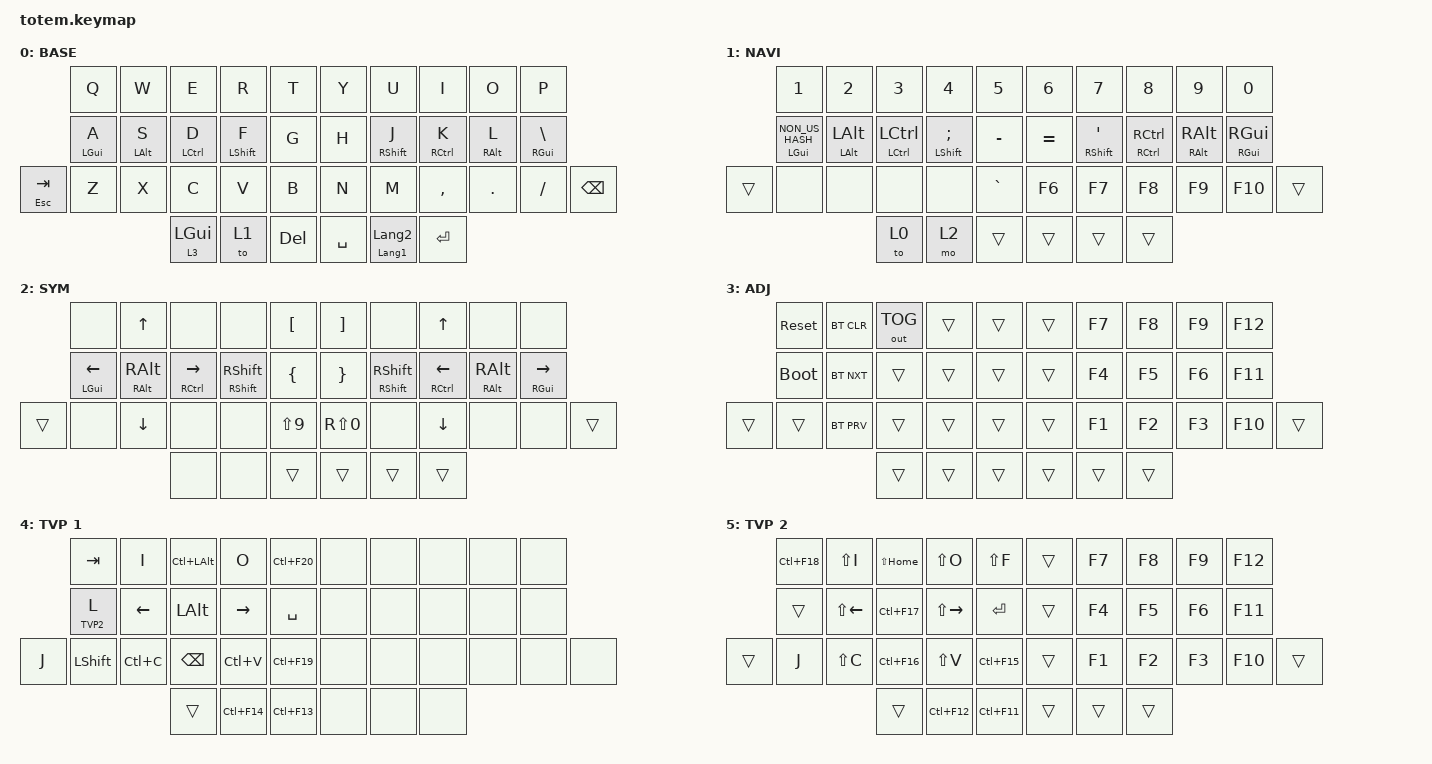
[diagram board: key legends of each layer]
//
//                                                        ▀▀▀▀▀     ▀▀▀▀▀          ▀▀█▀▀
//                                                        ▄▀▀▀▄  ▄  ▄▀▀▀▄  ▄  ▄▀▀▀▄  █  ▄▀▀▀▄
//                                                        █   █  █  █   █  █  █   █  █  █   █
//                                                         ▀▀▀   █   ▀▀▀   █   ▀▀▀   ▀   ▀▀▀
//                                                               █      ▄▄▄█▄▄▄    █   █  
//                                                               ▀      █  █  █     █▄█
//                                                             ▀▀▀▀▀    █  █  █      ▀
//                                                                      ▀  ▀  ▀x
//
// ▄▄▄▄▄▄▄▄▄▄▄▄▄▄▄▄▄▄▄▄▄▄▄▄▄▄▄▄▄▄▄▄▄▄▄▄▄▄▄▄▄▄▄▄▄▄▄▄▄▄▄▄▄▄▄▄▄▄▄▄▄▄▄▄▄▄▄▄▄▄▄▄▄▄▄▄▄▄▄▄▄▄▄▄▄▄▄▄▄▄▄▄▄▄▄▄▄▄▄▄▄▄▄▄▄▄▄▄▄▄▄▄▄▄▄▄▄▄▄▄▄▄▄▄▄▄▄▄▄▄▄▄▄▄▄▄▄▄▄▄▄▄▄▄▄▄▄▄▄

#include <behaviors.dtsi>
#include <dt-bindings/zmk/bt.h>
#include <dt-bindings/zmk/keys.h>
#include <dt-bindings/zmk/outputs.h>

#define BASE 0
#define NAV  1
#define SYM  2
#define ADJ  3
#define TVP1 4
#define TVP2 5

&mt {
    quick-tap-ms = <100>;
    global-quick-tap;
    flavor = "tap-preferred";
    tapping-term-ms = <170>;
};

/ {
    combos {
        compatible = "zmk,combos";

        combo_esc {
            timeout-ms = <50>;
            key-positions = <0 1>;
            bindings = <&kp ESC>;
        };

        combo_tvp {
            timeout-ms = <100>;
            key-positions = <11 12 13>;
            bindings = <&tog TVP1>;
        };
    };

    macros {
        gif: gif {
            label = "giphy";
            compatible = "zmk,behavior-macro";
            #binding-cells = <0>;
            bindings =
                <&macro_press>,
                <&kp LSHFT>,
                <&macro_tap>,
                <&kp N2>,
                <&macro_release>,
                <&kp LSHFT>,
                <&macro_tap>,
                <&kp G &kp I &kp F>;
        };
    };

    keymap {
        compatible = "zmk,keymap";

        // ▄▄▄▄▄▄▄▄▄▄▄▄▄▄▄▄▄▄▄▄▄▄▄▄▄▄▄▄▄▄▄▄▄▄▄▄▄▄▄▄▄▄▄▄▄▄▄▄▄▄▄▄▄▄▄▄▄▄▄▄▄▄▄▄▄▄▄▄▄▄▄▄▄▄▄▄▄▄▄▄▄▄▄▄▄▄▄▄▄▄▄▄▄▄▄▄▄▄▄▄▄▄▄▄▄▄▄▄▄▄▄▄▄▄▄▄▄▄▄▄▄▄▄▄▄▄▄▄▄▄▄▄▄▄▄▄▄▄▄▄▄▄▄▄▄▄▄▄▄

        base_layer {
            // ┏━━━━━━━━━━━━━━━━━━━━━━━━━━━━━━━━━━━━━━━┓

            label = "BASE";

            // ┗━━━━━━━━━━━━━━━━━━━━━━━━━━━━━━━━━━━━━━━┛
            //             ┏━━━━━━━━━━━┳━━━━━━━━━━━┳━━━━━━━━━━━┳━━━━━━━━━━━┳━━━━━━━━━━━┓   ┏━━━━━━━━━━━┳━━━━━━━━━━━┳━━━━━━━━━━━┳━━━━━━━━━━━┳━━━━━━━━━━━┓
            //             ┃     Q     ┃     W     ┃     F     ┃     P     ┃     G     ┃   ┃     J     ┃     L     ┃     U     ┃     Y     ┃     ;     ┃
            //             ┣━━━━━━━━━━━╋━━━━━━━━━━━╋━━━━━━━━━━━╋━━━━━━━━━━━╋━━━━━━━━━━━┫   ┣━━━━━━━━━━━╋━━━━━━━━━━━╋━━━━━━━━━━━╋━━━━━━━━━━━╋━━━━━━━━━━━┫
            //             ┃     A     ┃     R     ┃     S     ┃     T     ┃     D     ┃   ┃     H     ┃     N     ┃     E     ┃     I     ┃     O     ┃
            // ┏━━━━━━━━━━━╋━━━━━━━━━━━╋━━━━━━━━━━━╋━━━━━━━━━━━╋━━━━━━━━━━━╋━━━━━━━━━━━┫   ┣━━━━━━━━━━━╋━━━━━━━━━━━╋━━━━━━━━━━━╋━━━━━━━━━━━╋━━━━━━━━━━━╋━━━━━━━━━━━┓
            // ┃     Q     ┃     Z     ┃     X     ┃     C     ┃     V     ┃     B     ┃   ┃     K     ┃     M     ┃     ,     ┃     .     ┃     /     ┃     \     ┃
            // ┗━━━━━━━━━━━┻━━━━━━━━━━━┻━━━━━━━━━━━╋━━━━━━━━━━━╋━━━━━━━━━━━╋━━━━━━━━━━━┫   ┣━━━━━━━━━━━╋━━━━━━━━━━━╋━━━━━━━━━━━╋━━━━━━━━━━━┻━━━━━━━━━━━┻━━━━━━━━━━━┛
            //                                     ┃    DEL    ┃    TAB    ┃    SPC    ┃   ┃   ENTER   ┃           ┃   BSPC    ┃
            //                                     ┗━━━━━━━━━━━┻━━━━━━━━━━━┻━━━━━━━━━━━┛   ┗━━━━━━━━━━━┻━━━━━━━━━━━┻━━━━━━━━━━━┛

            bindings = <
                &kp Q           &kp W       &kp E           &kp R        &kp T         &kp Y      &kp U                      &kp I        &kp O       &kp P
                &mt LEFT_GUI A  &mt LALT S  &mt LCTRL D     &mt LSHFT F  &kp G         &kp H      &mt RSHFT J                &mt RCTRL K  &mt RALT L  &mt RGUI BACKSLASH
&mt ESCAPE TAB  &kp Z           &kp X       &kp C           &kp V        &kp B         &kp N      &kp M                      &kp COMMA    &kp DOT     &kp FSLH            &kp BACKSPACE
                                            &lt 3 LEFT_GUI  &to 1        &kp DELETE    &kp SPACE  &mt LANGUAGE_1 LANGUAGE_2  &kp ENTER
            >;
        };

        // ▄▄▄▄▄▄▄▄▄▄▄▄▄▄▄▄▄▄▄▄▄▄▄▄▄▄▄▄▄▄▄▄▄▄▄▄▄▄▄▄▄▄▄▄▄▄▄▄▄▄▄▄▄▄▄▄▄▄▄▄▄▄▄▄▄▄▄▄▄▄▄▄▄▄▄▄▄▄▄▄▄▄▄▄▄▄▄▄▄▄▄▄▄▄▄▄▄▄▄▄▄▄▄▄▄▄▄▄▄▄▄▄▄▄▄▄▄▄▄▄▄▄▄▄▄▄▄▄▄▄▄▄▄▄▄▄▄▄▄▄▄▄▄▄▄▄▄▄▄

        nav_layer {
            // ┏━━━━━━━━━━━━━━━━━━━━━━━━━━━━━━━━━━━━━━━┓

            label = "NAVI";

            // ┗━━━━━━━━━━━━━━━━━━━━━━━━━━━━━━━━━━━━━━━┛
            //             ┏━━━━━━━━━━━┳━━━━━━━━━━━┳━━━━━━━━━━━┳━━━━━━━━━━━┳━━━━━━━━━━━┓   ┏━━━━━━━━━━━┳━━━━━━━━━━━┳━━━━━━━━━━━┳━━━━━━━━━━━┳━━━━━━━━━━━┓
            //             ┃           ┃           ┃     UP    ┃           ┃     {     ┃   ┃     }     ┃     7     ┃     8     ┃     9     ┃     +     ┃
            //             ┣━━━━━━━━━━━╋━━━━━━━━━━━╋━━━━━━━━━━━╋━━━━━━━━━━━╋━━━━━━━━━━━┫   ┣━━━━━━━━━━━╋━━━━━━━━━━━╋━━━━━━━━━━━╋━━━━━━━━━━━╋━━━━━━━━━━━┫
            //             ┃   SHIFT   ┃   LEFT    ┃    DOWN   ┃   RIGHT   ┃     [     ┃   ┃     ]     ┃     4     ┃     5     ┃     6     ┃     -     ┃
            // ┏━━━━━━━━━━━╋━━━━━━━━━━━╋━━━━━━━━━━━╋━━━━━━━━━━━╋━━━━━━━━━━━╋━━━━━━━━━━━┫   ┣━━━━━━━━━━━╋━━━━━━━━━━━╋━━━━━━━━━━━╋━━━━━━━━━━━╋━━━━━━━━━━━╋━━━━━━━━━━━┓
            // ┃           ┃           ┃   P UP    ┃  C LOCK   ┃  P DOWN   ┃     (     ┃   ┃     )     ┃     1     ┃     2     ┃     3     ┃     *     ┃           ┃
            // ┗━━━━━━━━━━━┻━━━━━━━━━━━┻━━━━━━━━━━━╋━━━━━━━━━━━╋━━━━━━━━━━━╋━━━━━━━━━━━┫   ┣━━━━━━━━━━━╋━━━━━━━━━━━╋━━━━━━━━━━━╋━━━━━━━━━━━┻━━━━━━━━━━━┻━━━━━━━━━━━┛
            //                                     ┃           ┃    TAB    ┃    SPC    ┃   ┃    DEL    ┃     0     ┃           ┃
            //                                     ┗━━━━━━━━━━━┻━━━━━━━━━━━┻━━━━━━━━━━━┛   ┗━━━━━━━━━━━┻━━━━━━━━━━━┻━━━━━━━━━━━┛

            bindings = <
        &kp N1                    &kp NUMBER_2           &kp NUMBER_3                   &kp NUMBER_4         &kp N5       &kp NUMBER_6  &kp N7                &kp N8                           &kp N9                   &kp N0
        &mt LEFT_GUI NON_US_HASH  &mt LEFT_ALT LEFT_ALT  &mt LEFT_CONTROL LEFT_CONTROL  &mt LEFT_SHIFT SEMI  &kp MINUS    &kp EQUAL     &mt RIGHT_SHIFT APOS  &mt RIGHT_CONTROL RIGHT_CONTROL  &mt RIGHT_ALT RIGHT_ALT  &mt RIGHT_GUI RIGHT_GUI
&trans  &none                     &none                  &none                          &none                &kp GRAVE    &kp F6        &kp F7                &kp F8                           &kp F9                   &kp F10                  &trans
                                                         &to 0                          &mo 2                &trans       &trans        &trans                &trans
            >;
        };

        // ▄▄▄▄▄▄▄▄▄▄▄▄▄▄▄▄▄▄▄▄▄▄▄▄▄▄▄▄▄▄▄▄▄▄▄▄▄▄▄▄▄▄▄▄▄▄▄▄▄▄▄▄▄▄▄▄▄▄▄▄▄▄▄▄▄▄▄▄▄▄▄▄▄▄▄▄▄▄▄▄▄▄▄▄▄▄▄▄▄▄▄▄▄▄▄▄▄▄▄▄▄▄▄▄▄▄▄▄▄▄▄▄▄▄▄▄▄▄▄▄▄▄▄▄▄▄▄▄▄▄▄▄▄▄▄▄▄▄▄▄▄▄▄▄▄▄▄▄▄

        sim_layer {
            // ┏━━━━━━━━━━━━━━━━━━━━━━━━━━━━━━━━━━━━━━━┓

            label = "SYM";

            // ┗━━━━━━━━━━━━━━━━━━━━━━━━━━━━━━━━━━━━━━━┛
            //             ┏━━━━━━━━━━━┳━━━━━━━━━━━┳━━━━━━━━━━━┳━━━━━━━━━━━┳━━━━━━━━━━━┓   ┏━━━━━━━━━━━┳━━━━━━━━━━━┳━━━━━━━━━━━┳━━━━━━━━━━━┳━━━━━━━━━━━┓
            //             ┃     !     ┃     @     ┃     #     ┃     $     ┃     %     ┃   ┃     ˆ     ┃     &     ┃     Ü     ┃     '     ┃     "     ┃
            //             ┣━━━━━━━━━━━╋━━━━━━━━━━━╋━━━━━━━━━━━╋━━━━━━━━━━━╋━━━━━━━━━━━┫   ┣━━━━━━━━━━━╋━━━━━━━━━━━╋━━━━━━━━━━━╋━━━━━━━━━━━╋━━━━━━━━━━━┫
            //             ┃     Ä     ┃           ┃    SZ     ┃           ┃           ┃   ┃   MUTE    ┃   YEN     ┃   EURO    ┃  POUND    ┃     Ö     ┃
            // ┏━━━━━━━━━━━╋━━━━━━━━━━━╋━━━━━━━━━━━╋━━━━━━━━━━━╋━━━━━━━━━━━╋━━━━━━━━━━━┫   ┣━━━━━━━━━━━╋━━━━━━━━━━━╋━━━━━━━━━━━╋━━━━━━━━━━━╋━━━━━━━━━━━╋━━━━━━━━━━━┓
            // ┃           ┃  EMAIL1   ┃  EMAIL2   ┃           ┃           ┃           ┃   ┃   VOL-    ┃   VOL+    ┃   LAST    ┃   NEXT    ┃     \     ┃           ┃
            // ┗━━━━━━━━━━━┻━━━━━━━━━━━┻━━━━━━━━━━━╋━━━━━━━━━━━╋━━━━━━━━━━━╋━━━━━━━━━━━┫   ┣━━━━━━━━━━━╋━━━━━━━━━━━╋━━━━━━━━━━━╋━━━━━━━━━━━┻━━━━━━━━━━━┻━━━━━━━━━━━┛
            //                                     ┃           ┃    GIF    ┃    ADJ    ┃   ┃           ┃           ┃           ┃
            //                                     ┗━━━━━━━━━━━┻━━━━━━━━━━━┻━━━━━━━━━━━┛   ┗━━━━━━━━━━━┻━━━━━━━━━━━┻━━━━━━━━━━━┛

            bindings = <
        &none                    &kp UP_ARROW             &none                          &none                        &kp LEFT_BRACKET    &kp RIGHT_BRACKET  &none                        &kp UP_ARROW                  &none                    &none
        &mt LEFT_GUI LEFT_ARROW  &mt RIGHT_ALT RIGHT_ALT  &mt RIGHT_CONTROL RIGHT_ARROW  &mt RIGHT_SHIFT RIGHT_SHIFT  &kp LEFT_BRACE      &kp RIGHT_BRACE    &mt RIGHT_SHIFT RIGHT_SHIFT  &mt RIGHT_CONTROL LEFT_ARROW  &mt RIGHT_ALT RIGHT_ALT  &mt RIGHT_GUI RIGHT_ARROW
&trans  &none                    &kp DOWN_ARROW           &none                          &none                        &kp LS(N9)          &kp RS(N0)         &none                        &kp DOWN_ARROW                &none                    &none                      &trans
                                                          &none                          &none                        &trans              &trans             &trans                       &trans
            >;
        };

        // ▄▄▄▄▄▄▄▄▄▄▄▄▄▄▄▄▄▄▄▄▄▄▄▄▄▄▄▄▄▄▄▄▄▄▄▄▄▄▄▄▄▄▄▄▄▄▄▄▄▄▄▄▄▄▄▄▄▄▄▄▄▄▄▄▄▄▄▄▄▄▄▄▄▄▄▄▄▄▄▄▄▄▄▄▄▄▄▄▄▄▄▄▄▄▄▄▄▄▄▄▄▄▄▄▄▄▄▄▄▄▄▄▄▄▄▄▄▄▄▄▄▄▄▄▄▄▄▄▄▄▄▄▄▄▄▄▄▄▄▄▄▄▄▄▄▄▄▄▄

        adjust_layer {
            // ┏━━━━━━━━━━━━━━━━━━━━━━━━━━━━━━━━━━━━━━━┓

            label = "ADJ";

            // ┗━━━━━━━━━━━━━━━━━━━━━━━━━━━━━━━━━━━━━━━┛
            //             ┏━━━━━━━━━━━┳━━━━━━━━━━━┳━━━━━━━━━━━┳━━━━━━━━━━━┳━━━━━━━━━━━┓   ┏━━━━━━━━━━━┳━━━━━━━━━━━┳━━━━━━━━━━━┳━━━━━━━━━━━┳━━━━━━━━━━━┓
            //             ┃   RESET   ┃ BT CLEAR  ┃  OUT TOG  ┃           ┃           ┃   ┃           ┃    F7     ┃    F8     ┃    F9     ┃    F12    ┃
            //             ┣━━━━━━━━━━━╋━━━━━━━━━━━╋━━━━━━━━━━━╋━━━━━━━━━━━╋━━━━━━━━━━━┫   ┣━━━━━━━━━━━╋━━━━━━━━━━━╋━━━━━━━━━━━╋━━━━━━━━━━━╋━━━━━━━━━━━┫
            //             ┃ BOOTLOAD  ┃ BT NEXT   ┃           ┃           ┃           ┃   ┃           ┃    F4     ┃    F5     ┃    F6     ┃    F11    ┃
            // ┏━━━━━━━━━━━╋━━━━━━━━━━━╋━━━━━━━━━━━╋━━━━━━━━━━━╋━━━━━━━━━━━╋━━━━━━━━━━━┫   ┣━━━━━━━━━━━╋━━━━━━━━━━━╋━━━━━━━━━━━╋━━━━━━━━━━━╋━━━━━━━━━━━╋━━━━━━━━━━━┓
            // ┃           ┃           ┃ BT PREV   ┃           ┃           ┃           ┃   ┃           ┃    F1     ┃    F2     ┃    F3     ┃    F10    ┃           ┃
            // ┗━━━━━━━━━━━┻━━━━━━━━━━━┻━━━━━━━━━━━╋━━━━━━━━━━━╋━━━━━━━━━━━╋━━━━━━━━━━━┫   ┣━━━━━━━━━━━╋━━━━━━━━━━━╋━━━━━━━━━━━╋━━━━━━━━━━━┻━━━━━━━━━━━┻━━━━━━━━━━━┛
            //                                     ┃           ┃           ┃           ┃   ┃           ┃           ┃           ┃
            //                                     ┗━━━━━━━━━━━┻━━━━━━━━━━━┻━━━━━━━━━━━┛   ┗━━━━━━━━━━━┻━━━━━━━━━━━┻━━━━━━━━━━━┛

            bindings = <
        &sys_reset   &bt BT_CLR  &out OUT_TOG  &trans  &trans    &trans  &kp F7  &kp F8  &kp F9  &kp F12
        &bootloader  &bt BT_NXT  &trans        &trans  &trans    &trans  &kp F4  &kp F5  &kp F6  &kp F11
&trans  &trans       &bt BT_PRV  &trans        &trans  &trans    &trans  &kp F1  &kp F2  &kp F3  &kp F10  &trans
                                 &trans        &trans  &trans    &trans  &trans  &trans
            >;
        };

        // ▄▄▄▄▄▄▄▄▄▄▄▄▄▄▄▄▄▄▄▄▄▄▄▄▄▄▄▄▄▄▄▄▄▄▄▄▄▄▄▄▄▄▄▄▄▄▄▄▄▄▄▄▄▄▄▄▄▄▄▄▄▄▄▄▄▄▄▄▄▄▄▄▄▄▄▄▄▄▄▄▄▄▄▄▄▄▄▄▄▄▄▄▄▄▄▄▄▄▄▄▄▄▄▄▄▄▄▄▄▄▄▄▄▄▄▄▄▄▄▄▄▄▄▄▄▄▄▄▄▄▄▄▄▄▄▄▄▄▄▄▄▄▄▄▄▄▄▄▄

        tvp1_layer {
            // ┏━━━━━━━━━━━━━━━━━━━━━━━━━━━━━━━━━━━━━━━┓

            label = "TVP 1";

            // ┗━━━━━━━━━━━━━━━━━━━━━━━━━━━━━━━━━━━━━━━┛
            //             ┏━━━━━━━━━━━┳━━━━━━━━━━━┳━━━━━━━━━━━┳━━━━━━━━━━━┳━━━━━━━━━━━┓   ┏━━━━━━━━━━━┳━━━━━━━━━━━┳━━━━━━━━━━━┳━━━━━━━━━━━┳━━━━━━━━━━━┓
            //             ┃ NEXT FILE ┃ MARK IN   ┃ ROTATE    ┃ MARK OUT  ┃ SHOW SNAP ┃   ┃           ┃           ┃           ┃           ┃           ┃
            //             ┣━━━━━━━━━━━╋━━━━━━━━━━━╋━━━━━━━━━━━╋━━━━━━━━━━━╋━━━━━━━━━━━┫   ┣━━━━━━━━━━━╋━━━━━━━━━━━╋━━━━━━━━━━━╋━━━━━━━━━━━╋━━━━━━━━━━━┫
            //             ┃ TVP II    ┃ LEFT      ┃ PAN       ┃ RIGHT     ┃ PLAY/FLIP ┃   ┃           ┃           ┃           ┃           ┃           ┃
            // ┏━━━━━━━━━━━╋━━━━━━━━━━━╋━━━━━━━━━━━╋━━━━━━━━━━━╋━━━━━━━━━━━╋━━━━━━━━━━━┫   ┣━━━━━━━━━━━╋━━━━━━━━━━━╋━━━━━━━━━━━╋━━━━━━━━━━━╋━━━━━━━━━━━╋━━━━━━━━━━━┓
            // ┃ FULLSCR   ┃ SHIFT     ┃ COPY      ┃ DELETE    ┃ PASTE     ┃ IMG MARK  ┃   ┃           ┃           ┃           ┃           ┃           ┃           ┃
            // ┗━━━━━━━━━━━┻━━━━━━━━━━━┻━━━━━━━━━━━╋━━━━━━━━━━━╋━━━━━━━━━━━╋━━━━━━━━━━━┫   ┣━━━━━━━━━━━╋━━━━━━━━━━━╋━━━━━━━━━━━╋━━━━━━━━━━━┻━━━━━━━━━━━┻━━━━━━━━━━━┛
            //                                     ┃           ┃ UNDO/SAVE ┃  SEL/MOV  ┃   ┃           ┃           ┃           ┃
            //                                     ┗━━━━━━━━━━━┻━━━━━━━━━━━┻━━━━━━━━━━━┛   ┗━━━━━━━━━━━┻━━━━━━━━━━━┻━━━━━━━━━━━┛

            bindings = <
       &kp TAB     &kp I      &kp LC(LALT)  &kp O        &kp LC(F20)    &none  &none  &none  &none  &none
       &lt TVP2 L  &kp LEFT   &kp LALT      &kp RIGHT    &kp SPACE      &none  &none  &none  &none  &none
&kp J  &kp LSHFT   &kp LC(C)  &kp BSPC      &kp LC(V)    &kp LC(F19)    &none  &none  &none  &none  &none  &none
                              &trans        &kp LC(F14)  &kp LC(F13)    &none  &none  &none
            >;
        };

        // ▄▄▄▄▄▄▄▄▄▄▄▄▄▄▄▄▄▄▄▄▄▄▄▄▄▄▄▄▄▄▄▄▄▄▄▄▄▄▄▄▄▄▄▄▄▄▄▄▄▄▄▄▄▄▄▄▄▄▄▄▄▄▄▄▄▄▄▄▄▄▄▄▄▄▄▄▄▄▄▄▄▄▄▄▄▄▄▄▄▄▄▄▄▄▄▄▄▄▄▄▄▄▄▄▄▄▄▄▄▄▄▄▄▄▄▄▄▄▄▄▄▄▄▄▄▄▄▄▄▄▄▄▄▄▄▄▄▄▄▄▄▄▄▄▄▄▄▄▄

        tvp2_layer {
            // ┏━━━━━━━━━━━━━━━━━━━━━━━━━━━━━━━━━━━━━━━┓

            label = "TVP 2";

            // ┗━━━━━━━━━━━━━━━━━━━━━━━━━━━━━━━━━━━━━━━┛
            //             ┏━━━━━━━━━━━┳━━━━━━━━━━━┳━━━━━━━━━━━┳━━━━━━━━━━━┳━━━━━━━━━━━┓   ┏━━━━━━━━━━━┳━━━━━━━━━━━┳━━━━━━━━━━━┳━━━━━━━━━━━┳━━━━━━━━━━━┓
            //             ┃ SOLO      ┃ TOGGLE IN ┃ RESET ROT ┃ TOGGLE OUT┃ TAKE SNAP ┃   ┃           ┃           ┃           ┃           ┃           ┃
            //             ┣━━━━━━━━━━━╋━━━━━━━━━━━╋━━━━━━━━━━━╋━━━━━━━━━━━╋━━━━━━━━━━━┫   ┣━━━━━━━━━━━╋━━━━━━━━━━━╋━━━━━━━━━━━╋━━━━━━━━━━━╋━━━━━━━━━━━┫
            //             ┃ ---       ┃ LAST KEY  ┃ NEW KEY   ┃ NEXT KEY  ┃ ENTER     ┃   ┃           ┃           ┃           ┃           ┃           ┃
            // ┏━━━━━━━━━━━╋━━━━━━━━━━━╋━━━━━━━━━━━╋━━━━━━━━━━━╋━━━━━━━━━━━╋━━━━━━━━━━━┫   ┣━━━━━━━━━━━╋━━━━━━━━━━━╋━━━━━━━━━━━╋━━━━━━━━━━━╋━━━━━━━━━━━╋━━━━━━━━━━━┓
            // ┃           ┃ FULLSCR   ┃ CPY2BRUSH ┃ DEL HEAD  ┃ PSTinPLACE┃ BOOK MARK ┃   ┃           ┃           ┃           ┃           ┃           ┃           ┃
            // ┗━━━━━━━━━━━┻━━━━━━━━━━━┻━━━━━━━━━━━╋━━━━━━━━━━━╋━━━━━━━━━━━╋━━━━━━━━━━━┫   ┣━━━━━━━━━━━╋━━━━━━━━━━━╋━━━━━━━━━━━╋━━━━━━━━━━━┻━━━━━━━━━━━┻━━━━━━━━━━━┛
            //                                     ┃           ┃ REDO/SAV1 ┃TRANS/WARP ┃   ┃           ┃           ┃           ┃
            //                                     ┗━━━━━━━━━━━┻━━━━━━━━━━━┻━━━━━━━━━━━┛   ┗━━━━━━━━━━━┻━━━━━━━━━━━┻━━━━━━━━━━━┛

            bindings = <
        &kp LC(F18)  &kp LS(I)     &kp LS(HOME)  &kp LS(O)      &kp LS(F)      &trans  &kp F7  &kp F8  &kp F9  &kp F12
        &trans       &kp LS(LEFT)  &kp LC(F17)   &kp LS(RIGHT)  &kp RET        &trans  &kp F4  &kp F5  &kp F6  &kp F11
&trans  &kp J        &kp LS(C)     &kp LC(F16)   &kp LS(V)      &kp LC(F15)    &trans  &kp F1  &kp F2  &kp F3  &kp F10  &trans
                                   &trans        &kp LC(F12)    &kp LC(F11)    &trans  &trans  &trans
            >;
        };
    };
};
